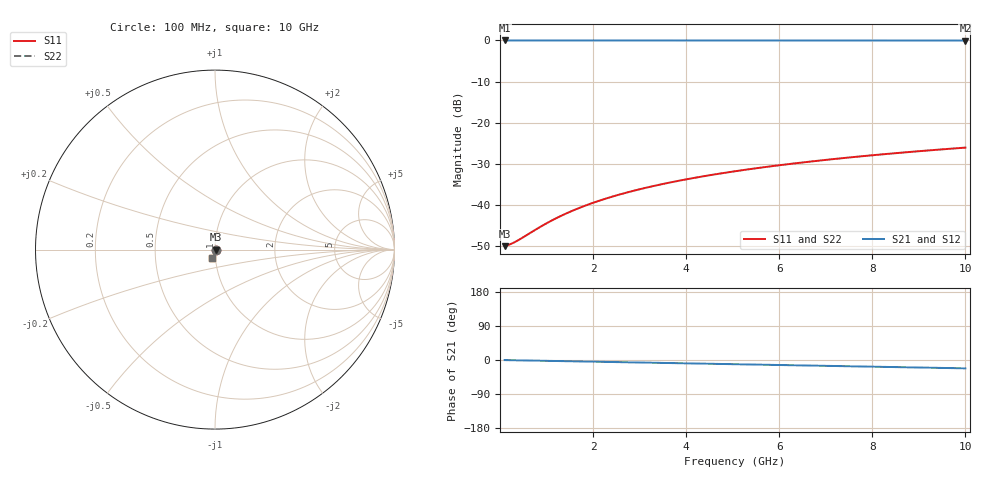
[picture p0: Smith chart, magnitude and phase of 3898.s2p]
# Hz S RI R 50.00
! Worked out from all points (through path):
!   100 points, 100 MHz to 10 GHz, reference 50 ohm
!   highest |S21| = -0.03 dB at 100 MHz (marker M1); lowest = 0.0 dB at 10 GHz (marker M2)
!   group delay of S21, straight-line fit = 6.12 ps
!   lowest |S11| = -49.9 dB at 100 MHz (marker M3), VSWR 1.01, Z = 50.3 - j0.0525 ohm
!   |S11| at or under -10 dB: start of sweep to end of sweep
!   |S22| runs from -49.9 to -26.0 dB; largest |S21 - S12| = 0
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1e8  0.00314 -0.000522  0.9968 -0.00383  0.9968 -0.00383  0.00314 -0.000522
2e8  0.00316 -0.00104  0.9968 -0.00766  0.9968 -0.00766  0.00316 -0.00104
3e8  0.00316 -0.00157  0.9967 -0.0115  0.9967 -0.0115  0.00316 -0.00157
4e8  0.00316 -0.00209  0.9967 -0.0153  0.9967 -0.0153  0.00316 -0.00209
9e8  0.00306 -0.00469  0.9961 -0.0345  0.9961 -0.0345  0.00306 -0.00469
1.2e9  0.00295 -0.00626  0.9956 -0.0459  0.9956 -0.0459  0.00295 -0.00626
1.5e9  0.0028 -0.00782  0.995 -0.0574  0.995 -0.0574  0.0028 -0.00782
1.8e9  0.00261 -0.00937  0.9942 -0.0689  0.9942 -0.0689  0.00261 -0.00937
2.1e9  0.00239 -0.0109  0.9933 -0.0803  0.9933 -0.0803  0.00239 -0.0109
2.5e9  0.00204 -0.013  0.9919 -0.0956  0.9919 -0.0956  0.00204 -0.013
2.9e9  0.00162 -0.015  0.9903 -0.1108  0.9903 -0.1108  0.00162 -0.015
3.4e9  0.00101 -0.0176  0.9879 -0.1298  0.9879 -0.1298  0.00101 -0.0176
3.8e9  0.000448 -0.0196  0.9857 -0.145  0.9857 -0.145  0.000448 -0.0196
4.2e9  -0.000173 -0.0216  0.9833 -0.1601  0.9833 -0.1601  -0.000173 -0.0216
4.6e9  -0.000855 -0.0236  0.9807 -0.1752  0.9807 -0.1752  -0.000855 -0.0236
5.1e9  -0.00179 -0.026  0.977 -0.194  0.977 -0.194  -0.00179 -0.026
5.9e9  -0.00348 -0.0298  0.9705 -0.2239  0.9705 -0.2239  -0.00348 -0.0298
6.7e9  -0.00541 -0.0336  0.9629 -0.2536  0.9629 -0.2536  -0.00541 -0.0336
7.5e9  -0.00755 -0.0372  0.9545 -0.2831  0.9545 -0.2831  -0.00755 -0.0372
8.4e9  -0.0102 -0.0411  0.9439 -0.3159  0.9439 -0.3159  -0.0102 -0.0411
9.2e9  -0.0128 -0.0444  0.9335 -0.3447  0.9335 -0.3447  -0.0128 -0.0444
1e10  -0.0156 -0.0475  0.9223 -0.3732  0.9223 -0.3732  -0.0156 -0.0475
